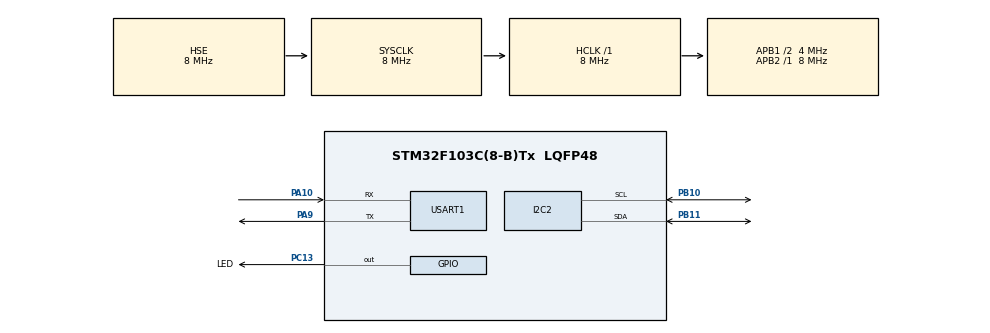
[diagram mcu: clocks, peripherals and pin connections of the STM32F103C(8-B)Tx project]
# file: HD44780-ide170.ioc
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Mcu.Family=STM32F1
Mcu.Name=STM32F103C(8-B)Tx
Mcu.Package=LQFP48
NVIC.PriorityGroup=NVIC_PRIORITYGROUP_4
PA10.Mode=Asynchronous
PA10.Signal=USART1_RX
PA13.Mode=Serial_Wire
PA13.Signal=SYS_JTMS-SWDIO
PA14.Mode=Serial_Wire
PA14.Signal=SYS_JTCK-SWCLK
PA9.Mode=Asynchronous
PA9.Signal=USART1_TX
PB10.GPIO_Pu=GPIO_PULLUP
PB10.Mode=I2C
PB10.Signal=I2C2_SCL
PB11.GPIO_Pu=GPIO_PULLUP
PB11.Mode=I2C
PB11.Signal=I2C2_SDA
PC13-TAMPER-RTC.GPIO_Label=LED
PC13-TAMPER-RTC.Signal=GPIO_Output
PD0-OSC_IN.Mode=HSE-External-Oscillator
PD0-OSC_IN.Signal=RCC_OSC_IN
PD1-OSC_OUT.Mode=HSE-External-Oscillator
PD1-OSC_OUT.Signal=RCC_OSC_OUT
ProjectManager.HeapSize=0x200
ProjectManager.StackSize=0x400
ProjectManager.TargetToolchain=STM32CubeIDE
RCC.AHBFreq_Value=8000000
RCC.APB1CLKDivider=RCC_HCLK_DIV2
RCC.APB1Freq_Value=4000000
RCC.APB1TimFreq_Value=8000000
RCC.APB2Freq_Value=8000000
RCC.APB2TimFreq_Value=8000000
RCC.HCLKFreq_Value=8000000
RCC.SYSCLKFreq_VALUE=8000000
RCC.SYSCLKSource=RCC_SYSCLKSOURCE_HSE
RCC.USBFreq_Value=8000000
USART1.VirtualMode=VM_ASYNC
board=custom

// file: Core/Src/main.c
/* USER CODE BEGIN Header */
/**
  ******************************************************************************
  * @file           : main.c
  * @brief          : Main program body
  ******************************************************************************
  * @attention
  *
  * <h2><center>&copy; Copyright (c) 2021 STMicroelectronics.
  * All rights reserved.</center></h2>
  *
  * This software component is licensed by ST under BSD 3-Clause license,
  * the "License"; You may not use this file except in compliance with the
  * License. You may obtain a copy of the License at:
  *                        opensource.org/licenses/BSD-3-Clause
  *
  ******************************************************************************
  */
/* USER CODE END Header */
#include "main.h"

/* USER CODE BEGIN Includes */
#include "stdio.h"
#include "stdlib.h"
#include "i2c-lcd.h"
/* USER CODE END Includes */

I2C_HandleTypeDef hi2c2;

UART_HandleTypeDef huart1;

/* USER CODE BEGIN PV */
/*uint8_t Buffer[25] = {0};
uint8_t Space[] = " - ";
uint8_t StartMSG[] = "Starting I2C Scanning: \r\n";
uint8_t EndMSG[] = "Done! \r\n\r\n";*/
//uint8_t MsgOK[] = "MPR121 OK! \r\n";
//uint8_t MsgKO[] = "MPR121 KO! \r\n";
char buffer[80];

uint32_t lastTime1, lastTime2, lastTime3, lastTime4;
uint8_t backlight=1;
uint8_t setBacklight;
time_t t;

/* USER CODE END PV */

void SystemClock_Config(void);
static void MX_GPIO_Init(void);
static void MX_I2C2_Init(void);
static void MX_USART1_UART_Init(void);

/* USER CODE BEGIN 0 */
//Redéfinition de printf
/*int _write (int file, char *ptr, int len)
{
    HAL_UART_Transmit(&huart1, ptr, len, 1000); //print the input ptr.
    return len; //return length.
}*/

/* USER CODE END 0 */

int main(void)
{

  /* MCU Configuration--------------------------------------------------------*/

  /* Reset of all peripherals, Initializes the Flash interface and the Systick. */
  HAL_Init();

  /* Configure the system clock */
  SystemClock_Config();

  /* Initialize all configured peripherals */
  MX_GPIO_Init();
  MX_I2C2_Init();
  MX_USART1_UART_Init();
  /* USER CODE BEGIN 2 */

  /*-[ I2C Bus Scanning ]-*/
/*  uint8_t i = 0, ret;
  HAL_UART_Transmit(&huart1, StartMSG, sizeof(StartMSG), 10000);
  for(i=1; i<128; i++)
  {
	ret = HAL_I2C_IsDeviceReady(&hi2c2, (uint16_t)(i<<1), 3, 5);
	if (ret != HAL_OK) // No ACK Received At That Address
	{
		HAL_UART_Transmit(&huart1, Space, sizeof(Space), 10000);
	  }
	else if(ret == HAL_OK)
	{
		sprintf(Buffer, "0x%X", i);
		HAL_UART_Transmit(&huart1, Buffer, sizeof(Buffer), 10000);
	}
  }
  HAL_UART_Transmit(&huart1, EndMSG, sizeof(EndMSG), 10000);
  //--[ Scanning Done ]--
*/

  // I2C Adresses:
  // 0x27 -> LCD => adresse STM32 = 0x4E
  // 0x3C -> OLED => adresse STM32 = 0x78
  // 0x5A -> MPR121 => adresse STM32 = 0xB4

  //ret=MPR121Init();
  lcd_init(true);

  //lcd_send_string ("Magnifique!");
  lcd_clear();
  lcd_send_string ("Magnifique!Magnifique!Magnifique!Magnifique!Magnifique!Magnifique!Magnifique!Magnifique!Magnifique!Magnifique!"); //pour avoir des upper et lower différents à chaque appel
  HAL_Delay(2000);

  setBacklight=LCD_BACKLIGHT;

  /* Intializes random number generator */
     srand((unsigned) time(&t));

     lastTime1 = HAL_GetTick();
     lastTime2 = lastTime1;
     lastTime3 = lastTime1;
     lastTime4 = lastTime1;
  /* USER CODE END 2 */

  /* Infinite loop */
  /* USER CODE BEGIN WHILE */
  while (1)
  {
	  if(HAL_GetTick()-lastTime1>200) {
		  HAL_GPIO_TogglePin(LED_GPIO_Port, LED_Pin);
		  lastTime1=HAL_GetTick();
	  }

	  //envoi d'un nombre aléatoire toutes les secondes
	  if(HAL_GetTick()-lastTime2>1000) {
		  //sprintf(buffer, "N=%d", (int)rand());
		  sprintf(buffer, "N=%d", HAL_GetTick());
		  lcd_clear();
		  lcd_send_string (buffer);
		  lastTime2=HAL_GetTick();
	 }

	  //relecture de la mémoire DDRAM toutes les 500ms
	  if(HAL_GetTick()-lastTime3>500) {
		  read_memory();
		  lastTime3=HAL_GetTick();
	  }

	  if(HAL_GetTick()-lastTime4>500) {
		  lcd_setBacklight(backlight);
		  backlight=!backlight;
		  lastTime4=HAL_GetTick();
	  }

    /* USER CODE END WHILE */

  }
}

void SystemClock_Config(void)
{
  RCC_OscInitTypeDef RCC_OscInitStruct = {0};
  RCC_ClkInitTypeDef RCC_ClkInitStruct = {0};

  /** Initializes the RCC Oscillators according to the specified parameters
  * in the RCC_OscInitTypeDef structure.
  */
  RCC_OscInitStruct.OscillatorType = RCC_OSCILLATORTYPE_HSE;
  RCC_OscInitStruct.HSEState = RCC_HSE_ON;
  RCC_OscInitStruct.PLL.PLLState = RCC_PLL_NONE;
  if (HAL_RCC_OscConfig(&RCC_OscInitStruct) != HAL_OK)
  {
    Error_Handler();
  }
  /** Initializes the CPU, AHB and APB buses clocks
  */
  RCC_ClkInitStruct.ClockType = RCC_CLOCKTYPE_HCLK|RCC_CLOCKTYPE_SYSCLK
                              |RCC_CLOCKTYPE_PCLK1|RCC_CLOCKTYPE_PCLK2;
  RCC_ClkInitStruct.SYSCLKSource = RCC_SYSCLKSOURCE_HSE;
  RCC_ClkInitStruct.AHBCLKDivider = RCC_SYSCLK_DIV1;
  RCC_ClkInitStruct.APB1CLKDivider = RCC_HCLK_DIV2;
  RCC_ClkInitStruct.APB2CLKDivider = RCC_HCLK_DIV1;

  if (HAL_RCC_ClockConfig(&RCC_ClkInitStruct, FLASH_LATENCY_0) != HAL_OK)
  {
    Error_Handler();
  }
}

static void MX_I2C2_Init(void)
{

  hi2c2.Instance = I2C2;
  hi2c2.Init.ClockSpeed = 100000;
  hi2c2.Init.DutyCycle = I2C_DUTYCYCLE_2;
  hi2c2.Init.OwnAddress1 = 0;
  hi2c2.Init.AddressingMode = I2C_ADDRESSINGMODE_7BIT;
  hi2c2.Init.DualAddressMode = I2C_DUALADDRESS_DISABLE;
  hi2c2.Init.OwnAddress2 = 0;
  hi2c2.Init.GeneralCallMode = I2C_GENERALCALL_DISABLE;
  hi2c2.Init.NoStretchMode = I2C_NOSTRETCH_DISABLE;
  if (HAL_I2C_Init(&hi2c2) != HAL_OK)
  {
    Error_Handler();
  }

}

static void MX_USART1_UART_Init(void)
{

  huart1.Instance = USART1;
  huart1.Init.BaudRate = 115200;
  huart1.Init.WordLength = UART_WORDLENGTH_8B;
  huart1.Init.StopBits = UART_STOPBITS_1;
  huart1.Init.Parity = UART_PARITY_NONE;
  huart1.Init.Mode = UART_MODE_TX_RX;
  huart1.Init.HwFlowCtl = UART_HWCONTROL_NONE;
  huart1.Init.OverSampling = UART_OVERSAMPLING_16;
  if (HAL_UART_Init(&huart1) != HAL_OK)
  {
    Error_Handler();
  }

}

static void MX_GPIO_Init(void)
{
  GPIO_InitTypeDef GPIO_InitStruct = {0};

  /* GPIO Ports Clock Enable */
  __HAL_RCC_GPIOC_CLK_ENABLE();
  __HAL_RCC_GPIOD_CLK_ENABLE();
  __HAL_RCC_GPIOB_CLK_ENABLE();
  __HAL_RCC_GPIOA_CLK_ENABLE();

  /*Configure GPIO pin Output Level */
  HAL_GPIO_WritePin(LED_GPIO_Port, LED_Pin, GPIO_PIN_RESET);

  /*Configure GPIO pin : LED_Pin */
  GPIO_InitStruct.Pin = LED_Pin;
  GPIO_InitStruct.Mode = GPIO_MODE_OUTPUT_PP;
  GPIO_InitStruct.Pull = GPIO_NOPULL;
  GPIO_InitStruct.Speed = GPIO_SPEED_FREQ_LOW;
  HAL_GPIO_Init(LED_GPIO_Port, &GPIO_InitStruct);

}

void Error_Handler(void)
{
  __disable_irq();
  while (1)
  {
  }
}

/************************ (C) COPYRIGHT STMicroelectronics *****END OF FILE****/
